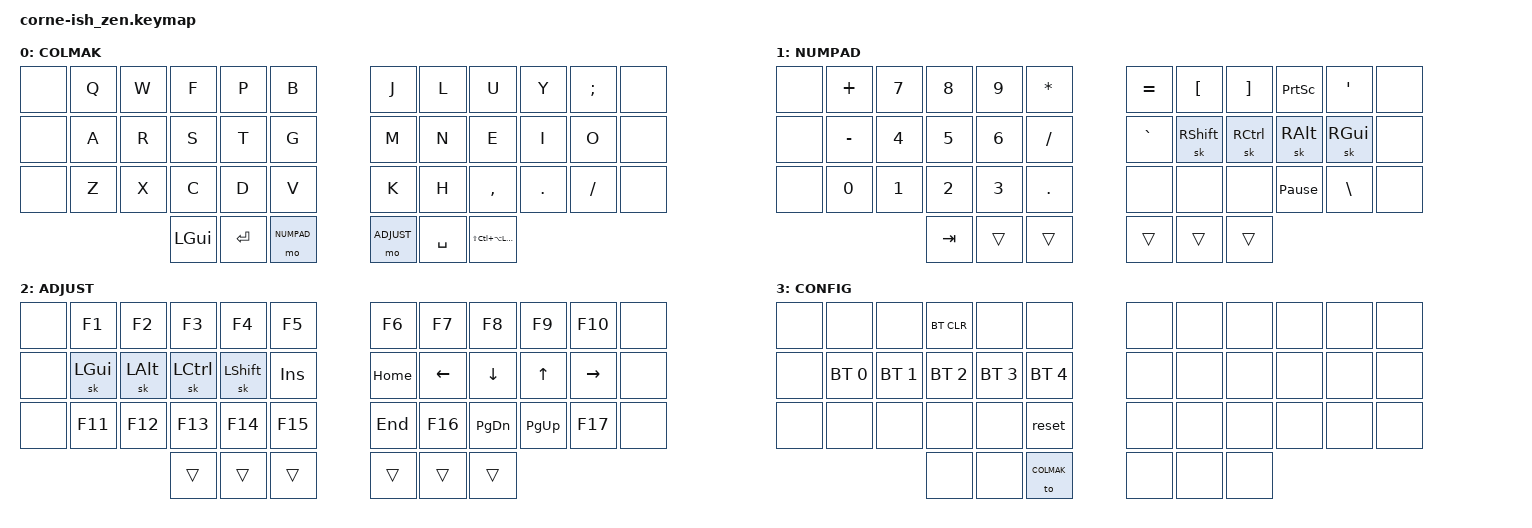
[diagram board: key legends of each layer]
/*
*
* Copyright (c) 2021 lowprokb.ca
* SPDX-License-Identifier: MIT
*
*/

#include <behaviors.dtsi>
#include <dt-bindings/zmk/keys.h>
#include <dt-bindings/zmk/bt.h>

#define COLMAK 0
#define NUMPAD 1
#define ADJUST 2
#define CONFIG 3

#define HYPER LS(LC(LA(LGUI)))

/ {
        keymap {
                compatible = "zmk,keymap";

                default_layer {
                        label = "COLMAK";
                        bindings = <
   &none 		&kp Q 	&kp W 	&kp F 	&kp P 	&kp B		&kp J 	&kp L 	&kp U    &kp Y	 &kp SEMI   	&none
   &none 		&kp A 	&kp R 	&kp S 	&kp T 	&kp G    	&kp M 	&kp N 	&kp E    &kp I   &kp O 			&none
   &none 		&kp Z 	&kp X 	&kp C 	&kp D 	&kp V    	&kp K 	&kp H 	&kp CMMA &kp DOT &kp FSLH 		&none
						&kp LGUI &kp RET &mo NUMPAD    	 	&mo ADJUST &kp SPC &kp HYPER
                        >;
                };

                numpad_layer {
                        label = "NUMPAD";
                        bindings = < 
   &none     	&kp PLUS  &kp N7 &kp N8 &kp N9 &kp STAR  	&kp EQUAL    &kp LBKT &kp RBKT &kp PSCRN &kp SQT  &none
   &none 		&kp MINUS &kp N4 &kp N5 &kp N6 &kp SLASH  	&kp GRAVE 	&sk RSHFT &sk RCTRL &sk RALT &sk RGUI  &none
   &none 		&kp N0 	  &kp N1 &kp N2 &kp N3 &kp DOT    	&none    &none &none &kp PAUSE_BREAK &kp BSLH &none
								&kp TAB &trans &trans   	&trans &trans &trans
                        >;
                };

                adjust_layer {
                        label = "ADJUST";
                        bindings = <
	&none 		&kp F1   &kp F2   &kp F3    &kp F4    &kp F5   		&kp F6   &kp F7   &kp F8    &kp F9    &kp F10 	&none
	&none 		&sk LGUI &sk LALT &sk LCTRL &sk LSHFT &kp INS 		&kp HOME &kp LEFT &kp DOWN  &kp UP 	  &kp RIGHT &none
	&none 		&kp F11  &kp F12  &kp F13   &kp F14   &kp F15  		&kp END	 &kp F16  &kp PG_DN &kp PG_UP &kp F17	&none
								  &trans    &trans    &trans 		&trans &trans &trans
                        >;
                };

                config_layer {
                        label = "CONFIG";
                        bindings = <
   &none     	&none        &none        &bt BT_CLR   &none        &none           &none &none &none &none &none &none 
   &none 		&bt BT_SEL 0 &bt BT_SEL 1 &bt BT_SEL 2 &bt BT_SEL 3 &bt BT_SEL 4    &none &none &none &none &none &none
   &none      	&none        &none        &none        &none        &reset          &none &none &none &none &none &none
                                          &none 	   &none 		&to COLMAK    	&none &none &none
                        >;
                };
        };
		combos {
				compatible = "zmk,combos";
                combo_esc {
                        timeout-ms = <50>;
                        key-positions = <2 3>;
                        bindings = <&kp ESC>;
                };
                combo_bksp {
                        timeout-ms = <50>;
                        key-positions = <8 9>;
                        bindings = <&kp BACKSPACE>;
                };
				combo_delete {
						timeout-ms = <50>;
						key-positions = <26 27>;
						bindings = <&kp DEL>;
				};
				combo_tab {
						timeout-ms = <50>;
						key-positions = <32 33>;
						bindings = <&kp TAB>;
				};
				combo_numlock {
						timeout-ms = <50>;
						key-positions = <36 37 38>;
						bindings = <&tog NUMPAD>;
				};
				combo_config {
						timeout-ms = <50>;
						key-positions = <1 13 25>;
						bindings = <&tog CONFIG>;
				};
		};
};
